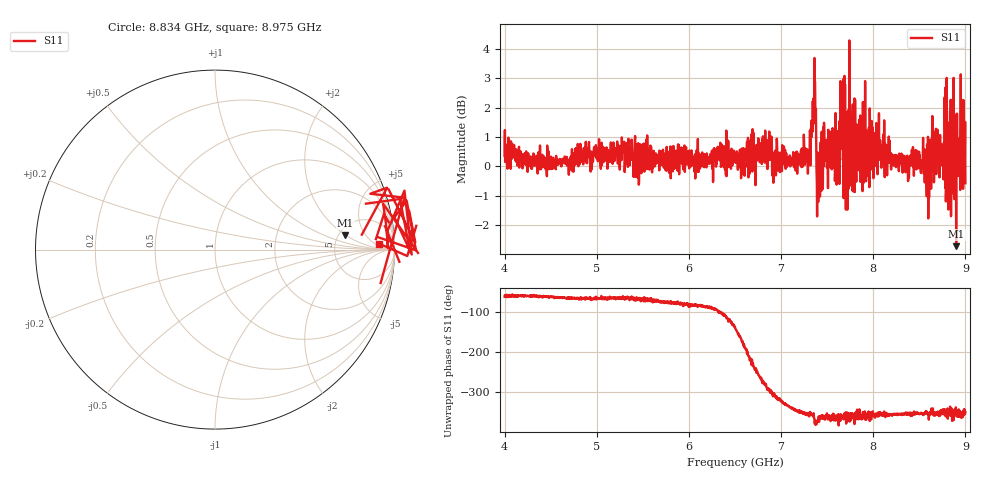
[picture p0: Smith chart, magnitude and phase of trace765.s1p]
! Created with skrf 1.8.0 (http://scikit-rf.org).
# Hz S RI R 50.0
!freq ReS11 ImS11
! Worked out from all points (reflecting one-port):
!   1601 points, 4 GHz to 9 GHz, reference 50 ohm
!   lowest |S11| = -2.7 dB at 8.9 GHz (marker M1), VSWR 6.44, Z = 287 + j98.8 ohm
!   phase of S11 starts at -63 deg and turns -286 deg over the sweep
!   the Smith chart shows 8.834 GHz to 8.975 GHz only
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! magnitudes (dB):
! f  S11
! 4 GHz  0.4
! 4.625 GHz  0.1
! 5.25 GHz  -0.1
! 5.875 GHz  0.0
! 6.5 GHz  0.2
! 6.803 GHz  1.0
! 6.925 GHz  0.4
! 7.125 GHz  0.3
! 7.294 GHz  0.2
! 7.356 GHz  2.1
! 7.412 GHz  -0.2
! 7.481 GHz  0.7
! 7.609 GHz  1.2
! 7.669 GHz  1.7
! 7.703 GHz  -1.5
! 7.75 GHz  0.0
! 7.769 GHz  0.5
! 7.891 GHz  0.3
! 8.375 GHz  0.0
! 8.438 GHz  0.5
! 8.584 GHz  0.7
! 8.656 GHz  1.2
! 8.738 GHz  0.7
! 8.816 GHz  -1.5
! 8.828 GHz  0.5
! 8.9 GHz  -2.7
! 8.972 GHz  0.6
! 9 GHz  -0.6
